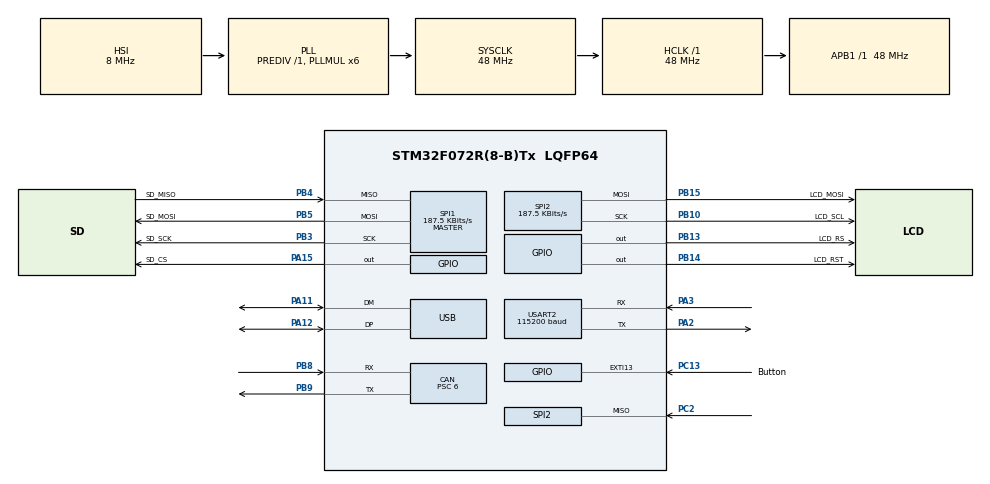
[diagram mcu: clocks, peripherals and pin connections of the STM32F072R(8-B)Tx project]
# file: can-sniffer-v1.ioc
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CAN.BS1=CAN_BS1_12TQ
CAN.BS2=CAN_BS2_3TQ
CAN.CalculateBaudRate=500000
CAN.CalculateTimeBit=2000
CAN.CalculateTimeQuantum=125.0
CAN.Mode=CAN_MODE_NORMAL
CAN.Prescaler=6
Mcu.Family=STM32F0
Mcu.Name=STM32F072R(8-B)Tx
Mcu.Package=LQFP64
NVIC.CEC_CAN_IRQn=true\:0\:0\:false\:false\:true\:true\:true\:true
NVIC.EXTI4_15_IRQn=true\:0\:0\:false\:false\:true\:true\:true\:true
NVIC.FLASH_IRQn=true\:0\:0\:false\:false\:true\:true\:true\:true
PA11.Mode=Device
PA11.Signal=USB_DM
PA12.Mode=Device
PA12.Signal=USB_DP
PA13.Mode=Serial_Wire
PA13.Signal=SYS_SWDIO
PA14.Mode=Serial_Wire
PA14.Signal=SYS_SWCLK
PA15.GPIO_Label=SD_CS
PA15.Signal=GPIO_Output
PA2.Mode=Asynchronous
PA2.Signal=USART2_TX
PA3.Mode=Asynchronous
PA3.Signal=USART2_RX
PB10.GPIO_Label=LCD_SCL
PB10.Mode=Full_Duplex_Master
PB10.Signal=SPI2_SCK
PB12.GPIO_Label=LCD_CSB
PB12.Signal=SPI2_NSS
PB13.GPIO_Label=LCD_RS
PB13.Signal=GPIO_Output
PB14.GPIO_Label=LCD_RST
PB14.Signal=GPIO_Output
PB15.GPIO_Label=LCD_MOSI
PB15.Mode=Full_Duplex_Master
PB15.Signal=SPI2_MOSI
PB3.GPIO_Label=SD_SCK
PB3.GPIO_Speed=GPIO_SPEED_FREQ_MEDIUM
PB3.Mode=Full_Duplex_Master
PB3.Signal=SPI1_SCK
PB4.GPIO_Label=SD_MISO
PB4.GPIO_Speed=GPIO_SPEED_FREQ_MEDIUM
PB4.Mode=Full_Duplex_Master
PB4.Signal=SPI1_MISO
PB5.GPIO_Label=SD_MOSI
PB5.GPIO_Speed=GPIO_SPEED_FREQ_MEDIUM
PB5.Mode=Full_Duplex_Master
PB5.Signal=SPI1_MOSI
PB8.GPIO_PuPd=GPIO_PULLUP
PB8.Mode=CAN_Activate
PB8.Signal=CAN_RX
PB9.GPIO_PuPd=GPIO_PULLUP
PB9.Mode=CAN_Activate
PB9.Signal=CAN_TX
PC13.GPIO_Label=Button
PC13.GPIO_ModeDefaultEXTI=GPIO_MODE_IT_FALLING
PC13.Signal=GPXTI13
PC2.Mode=Full_Duplex_Master
PC2.Signal=SPI2_MISO
PF0-OSC_IN.Mode=HSE-External-Oscillator
PF0-OSC_IN.Signal=RCC_OSC_IN
PF1-OSC_OUT.Mode=HSE-External-Oscillator
PF1-OSC_OUT.Signal=RCC_OSC_OUT
ProjectManager.HeapSize=0x200
ProjectManager.StackSize=0x400
ProjectManager.TargetToolchain=STM32CubeIDE
RCC.AHBFreq_Value=48000000
RCC.APB1Freq_Value=48000000
RCC.APB1TimFreq_Value=48000000
RCC.HCLKFreq_Value=48000000
RCC.PLLMUL=RCC_PLL_MUL6
RCC.SYSCLKFreq_VALUE=48000000
RCC.SYSCLKSource=RCC_SYSCLKSOURCE_PLLCLK
SPI1.BaudRatePrescaler=SPI_BAUDRATEPRESCALER_256
SPI1.CalculateBaudRate=187.5 KBits/s
SPI1.DataSize=SPI_DATASIZE_8BIT
SPI1.Direction=SPI_DIRECTION_2LINES
SPI1.Mode=SPI_MODE_MASTER
SPI1.VirtualType=VM_MASTER
SPI2.BaudRatePrescaler=SPI_BAUDRATEPRESCALER_256
SPI2.CalculateBaudRate=187.5 KBits/s
SPI2.Direction=SPI_DIRECTION_2LINES
SPI2.Mode=SPI_MODE_MASTER
SPI2.VirtualType=VM_MASTER
TIM2.Prescaler=47
USART2.BaudRate=115200
USART2.VirtualMode-Asynchronous=VM_ASYNC
VP_FATFS_VS_Generic.Mode=User_defined
VP_TIM2_VS_ClockSourceINT.Mode=Internal
board=custom

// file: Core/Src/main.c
/* USER CODE BEGIN Header */
/**
  ******************************************************************************
  * @file           : main.c
  * @brief          : Main program body
  ******************************************************************************
  * @attention
  *
  * Copyright (c) 2025 STMicroelectronics.
  * All rights reserved.
  *
  * This software is licensed under terms that can be found in the LICENSE file
  * in the root directory of this software component.
  * If no LICENSE file comes with this software, it is provided AS-IS.
  *
  ******************************************************************************
  */
/* USER CODE END Header */
#include "main.h"
#include "fatfs.h"

/* USER CODE BEGIN Includes */
#include <stdio.h>
#include <string.h>
#include <stdarg.h>
#include "canbus.h"
#include "stdbool.h"
#define SD_BUFFER_SIZE 512
/* USER CODE END Includes */

CAN_HandleTypeDef hcan;

SPI_HandleTypeDef hspi1;
SPI_HandleTypeDef hspi2;

TIM_HandleTypeDef htim2;

UART_HandleTypeDef huart2;

PCD_HandleTypeDef hpcd_USB_FS;

/* USER CODE BEGIN PV */
struct		CANmessage temp_msg;
uint16_t 	sd_state = 0;
char 		sd_buffer[SD_BUFFER_SIZE];
uint16_t 	sd_idx = 0;
uint32_t 	total_frames_logged = 0;
FATFS 		fs; // Working area for the file system
FRESULT 	res; // To store the result
FIL 		myFile;
UINT 		bytesWritten;
char 		logData[] = "Test string\r\n";
uint32_t 	can_start_time = 0;
bool 		first_frame_found = false;
//CAN_TxHeaderTypeDef   TxHeader; /* Header containing the information of the transmitted frame */
//CAN_RxHeaderTypeDef   RxHeader; ; /* Header containing the information of the received frame */
//uint8_t               TxData[8] = {0};  /* Buffer of the data to send */
//uint8_t               RxData[8]; /* Buffer of the received data */
//uint32_t              TxMailbox;  /* The number of the mail box that transmitted the Tx message */
//uint8_t 			  tx;
//uint8_t 			  rx;
//static struct CANmessage CANqueue[CANQUEUE_SIZE];
//static uint32_t CANqueue_write_index;

/* USER CODE END PV */

void SystemClock_Config(void);
static void MX_GPIO_Init(void);
static void MX_USB_PCD_Init(void);
static void MX_CAN_Init(void);
static void MX_SPI1_Init(void);
static void MX_USART2_UART_Init(void);
static void MX_SPI2_Init(void);
static void MX_TIM2_Init(void);
/* USER CODE BEGIN PFP */
void Logging_Task(void);
/* USER CODE END PFP */

int main(void)
{

  /* MCU Configuration--------------------------------------------------------*/

  /* Reset of all peripherals, Initializes the Flash interface and the Systick. */
  HAL_Init();

  /* Configure the system clock */
  SystemClock_Config();

  /* Initialize all configured peripherals */
  MX_GPIO_Init();
  MX_USB_PCD_Init();
  MX_CAN_Init();
  MX_SPI1_Init();
  MX_FATFS_Init();
  MX_USART2_UART_Init();
  MX_SPI2_Init();
  MX_TIM2_Init();
  /* USER CODE BEGIN 2 */
  CANbus_Init();
  HAL_CAN_Start(&hcan);
  CAN_EnableCollection();
  HAL_CAN_ActivateNotification(&hcan, CAN_IT_RX_FIFO0_MSG_PENDING);
  HAL_CAN_IRQHandler(&hcan);

//  HAL_CAN_Receive_IT(&hcan, CAN_RX_FIFO0);

	res = f_mount(&fs, "", 1);

	if (res == FR_OK) {
		sd_state=1;
	}

//	if (f_open(&myFile, "LOG.TXT", FA_CREATE_ALWAYS | FA_WRITE) == FR_OK) {
//		f_write(&myFile, logData, strlen(logData), &bytesWritten);
//		f_close(&myFile);
//	}

//	if (f_open(&myFile, "LOG.TXT", FA_OPEN_ALWAYS | FA_WRITE) == FR_OK){
//		f_lseek(&myFile, f_size(&myFile));
//	}
	memset(sd_buffer, 0, 512); // Clean the buffer
	sd_idx = 0;                // Reset index
	HAL_Delay(100);
  /* USER CODE END 2 */

  /* Infinite loop */
  /* USER CODE BEGIN WHILE */

  while (1)
  {
	  Logging_Task();

    /* USER CODE END WHILE */

  }
}

void SystemClock_Config(void)
{
  RCC_OscInitTypeDef RCC_OscInitStruct = {0};
  RCC_ClkInitTypeDef RCC_ClkInitStruct = {0};
  RCC_PeriphCLKInitTypeDef PeriphClkInit = {0};

  /** Initializes the RCC Oscillators according to the specified parameters
  * in the RCC_OscInitTypeDef structure.
  */
  RCC_OscInitStruct.OscillatorType = RCC_OSCILLATORTYPE_HSI|RCC_OSCILLATORTYPE_HSI48;
  RCC_OscInitStruct.HSIState = RCC_HSI_ON;
  RCC_OscInitStruct.HSI48State = RCC_HSI48_ON;
  RCC_OscInitStruct.HSICalibrationValue = RCC_HSICALIBRATION_DEFAULT;
  RCC_OscInitStruct.PLL.PLLState = RCC_PLL_ON;
  RCC_OscInitStruct.PLL.PLLSource = RCC_PLLSOURCE_HSI;
  RCC_OscInitStruct.PLL.PLLMUL = RCC_PLL_MUL6;
  RCC_OscInitStruct.PLL.PREDIV = RCC_PREDIV_DIV1;
  if (HAL_RCC_OscConfig(&RCC_OscInitStruct) != HAL_OK)
  {
    Error_Handler();
  }

  /** Initializes the CPU, AHB and APB buses clocks
  */
  RCC_ClkInitStruct.ClockType = RCC_CLOCKTYPE_HCLK|RCC_CLOCKTYPE_SYSCLK
                              |RCC_CLOCKTYPE_PCLK1;
  RCC_ClkInitStruct.SYSCLKSource = RCC_SYSCLKSOURCE_PLLCLK;
  RCC_ClkInitStruct.AHBCLKDivider = RCC_SYSCLK_DIV1;
  RCC_ClkInitStruct.APB1CLKDivider = RCC_HCLK_DIV1;

  if (HAL_RCC_ClockConfig(&RCC_ClkInitStruct, FLASH_LATENCY_1) != HAL_OK)
  {
    Error_Handler();
  }
  PeriphClkInit.PeriphClockSelection = RCC_PERIPHCLK_USB|RCC_PERIPHCLK_USART2;
  PeriphClkInit.Usart2ClockSelection = RCC_USART2CLKSOURCE_PCLK1;
  PeriphClkInit.UsbClockSelection = RCC_USBCLKSOURCE_HSI48;

  if (HAL_RCCEx_PeriphCLKConfig(&PeriphClkInit) != HAL_OK)
  {
    Error_Handler();
  }
}

static void MX_CAN_Init(void)
{

  /* USER CODE BEGIN CAN_Init 0 */
////	CAN_FilterTypeDef sFilterConfig;
  /* USER CODE END CAN_Init 0 */

  /* USER CODE BEGIN CAN_Init 1 */
////
  /* USER CODE END CAN_Init 1 */
  hcan.Instance = CAN;
  hcan.Init.Prescaler = 6;
  hcan.Init.Mode = CAN_MODE_NORMAL;
  hcan.Init.SyncJumpWidth = CAN_SJW_1TQ;
  hcan.Init.TimeSeg1 = CAN_BS1_12TQ;
  hcan.Init.TimeSeg2 = CAN_BS2_3TQ;
  hcan.Init.TimeTriggeredMode = DISABLE;
  hcan.Init.AutoBusOff = DISABLE;
  hcan.Init.AutoWakeUp = DISABLE;
  hcan.Init.AutoRetransmission = DISABLE;
  hcan.Init.ReceiveFifoLocked = DISABLE;
  hcan.Init.TransmitFifoPriority = DISABLE;
  if (HAL_CAN_Init(&hcan) != HAL_OK)
  {
    Error_Handler();
  }
  /* USER CODE BEGIN CAN_Init 2 */
//  sFilterConfig.FilterBank = 0;
//  sFilterConfig.FilterMode = CAN_FILTERMODE_IDMASK;
//  sFilterConfig.FilterScale = CAN_FILTERSCALE_32BIT;
//  sFilterConfig.FilterIdHigh = 0x0000;
//  sFilterConfig.FilterIdLow = 0x0000;
//  sFilterConfig.FilterMaskIdHigh = 0x0000;
//  sFilterConfig.FilterMaskIdLow = 0x0000;
//  sFilterConfig.FilterFIFOAssignment = CAN_RX_FIFO0;
//  sFilterConfig.FilterActivation = ENABLE;
//  sFilterConfig.SlaveStartFilterBank = 14;
//  if (HAL_CAN_ConfigFilter(&hcan, &sFilterConfig) != HAL_OK){
//	  //filter configuration error
//	  Error_Handler();
//  }
//  //Starting CAN peripheral
//  if (HAL_CAN_Start(&hcan) != HAL_OK){
//	  //start error
//	  Error_Handler();
//  }
//  //Activate CAN RX notification on FIFO0
//  if (HAL_CAN_ActivateNotification(&hcan, CAN_IT_RX_FIFO0_MSG_PENDING)){
//	  //notification error
//	  Error_Handler();
//  }
////
  /* USER CODE END CAN_Init 2 */

}

static void MX_SPI1_Init(void)
{

  /* SPI1 parameter configuration*/
  hspi1.Instance = SPI1;
  hspi1.Init.Mode = SPI_MODE_MASTER;
  hspi1.Init.Direction = SPI_DIRECTION_2LINES;
  hspi1.Init.DataSize = SPI_DATASIZE_8BIT;
  hspi1.Init.CLKPolarity = SPI_POLARITY_LOW;
  hspi1.Init.CLKPhase = SPI_PHASE_1EDGE;
  hspi1.Init.NSS = SPI_NSS_SOFT;
  hspi1.Init.BaudRatePrescaler = SPI_BAUDRATEPRESCALER_256;
  hspi1.Init.FirstBit = SPI_FIRSTBIT_MSB;
  hspi1.Init.TIMode = SPI_TIMODE_DISABLE;
  hspi1.Init.CRCCalculation = SPI_CRCCALCULATION_DISABLE;
  hspi1.Init.CRCPolynomial = 7;
  hspi1.Init.CRCLength = SPI_CRC_LENGTH_DATASIZE;
  hspi1.Init.NSSPMode = SPI_NSS_PULSE_ENABLE;
  if (HAL_SPI_Init(&hspi1) != HAL_OK)
  {
    Error_Handler();
  }

}

static void MX_SPI2_Init(void)
{

  /* SPI2 parameter configuration*/
  hspi2.Instance = SPI2;
  hspi2.Init.Mode = SPI_MODE_MASTER;
  hspi2.Init.Direction = SPI_DIRECTION_2LINES;
  hspi2.Init.DataSize = SPI_DATASIZE_4BIT;
  hspi2.Init.CLKPolarity = SPI_POLARITY_LOW;
  hspi2.Init.CLKPhase = SPI_PHASE_1EDGE;
  hspi2.Init.NSS = SPI_NSS_SOFT;
  hspi2.Init.BaudRatePrescaler = SPI_BAUDRATEPRESCALER_256;
  hspi2.Init.FirstBit = SPI_FIRSTBIT_MSB;
  hspi2.Init.TIMode = SPI_TIMODE_DISABLE;
  hspi2.Init.CRCCalculation = SPI_CRCCALCULATION_DISABLE;
  hspi2.Init.CRCPolynomial = 7;
  hspi2.Init.CRCLength = SPI_CRC_LENGTH_DATASIZE;
  hspi2.Init.NSSPMode = SPI_NSS_PULSE_ENABLE;
  if (HAL_SPI_Init(&hspi2) != HAL_OK)
  {
    Error_Handler();
  }

}

static void MX_TIM2_Init(void)
{

  TIM_ClockConfigTypeDef sClockSourceConfig = {0};
  TIM_MasterConfigTypeDef sMasterConfig = {0};

  htim2.Instance = TIM2;
  htim2.Init.Prescaler = 47;
  htim2.Init.CounterMode = TIM_COUNTERMODE_UP;
  htim2.Init.Period = 4294967295;
  htim2.Init.ClockDivision = TIM_CLOCKDIVISION_DIV1;
  htim2.Init.AutoReloadPreload = TIM_AUTORELOAD_PRELOAD_DISABLE;
  if (HAL_TIM_Base_Init(&htim2) != HAL_OK)
  {
    Error_Handler();
  }
  sClockSourceConfig.ClockSource = TIM_CLOCKSOURCE_INTERNAL;
  if (HAL_TIM_ConfigClockSource(&htim2, &sClockSourceConfig) != HAL_OK)
  {
    Error_Handler();
  }
  sMasterConfig.MasterOutputTrigger = TIM_TRGO_RESET;
  sMasterConfig.MasterSlaveMode = TIM_MASTERSLAVEMODE_DISABLE;
  if (HAL_TIMEx_MasterConfigSynchronization(&htim2, &sMasterConfig) != HAL_OK)
  {
    Error_Handler();
  }
  /* USER CODE BEGIN TIM2_Init 2 */
  //start timer
  HAL_TIM_Base_Start(&htim2);
  /* USER CODE END TIM2_Init 2 */

}

static void MX_USART2_UART_Init(void)
{

  huart2.Instance = USART2;
  huart2.Init.BaudRate = 115200;
  huart2.Init.WordLength = UART_WORDLENGTH_8B;
  huart2.Init.StopBits = UART_STOPBITS_1;
  huart2.Init.Parity = UART_PARITY_NONE;
  huart2.Init.Mode = UART_MODE_TX_RX;
  huart2.Init.HwFlowCtl = UART_HWCONTROL_NONE;
  huart2.Init.OverSampling = UART_OVERSAMPLING_16;
  huart2.Init.OneBitSampling = UART_ONE_BIT_SAMPLE_DISABLE;
  huart2.AdvancedInit.AdvFeatureInit = UART_ADVFEATURE_NO_INIT;
  if (HAL_UART_Init(&huart2) != HAL_OK)
  {
    Error_Handler();
  }

}

static void MX_USB_PCD_Init(void)
{

  hpcd_USB_FS.Instance = USB;
  hpcd_USB_FS.Init.dev_endpoints = 8;
  hpcd_USB_FS.Init.speed = PCD_SPEED_FULL;
  hpcd_USB_FS.Init.phy_itface = PCD_PHY_EMBEDDED;
  hpcd_USB_FS.Init.low_power_enable = DISABLE;
  hpcd_USB_FS.Init.lpm_enable = DISABLE;
  hpcd_USB_FS.Init.battery_charging_enable = DISABLE;
  if (HAL_PCD_Init(&hpcd_USB_FS) != HAL_OK)
  {
    Error_Handler();
  }

}

static void MX_GPIO_Init(void)
{
  GPIO_InitTypeDef GPIO_InitStruct = {0};

  /* GPIO Ports Clock Enable */
  __HAL_RCC_GPIOC_CLK_ENABLE();
  __HAL_RCC_GPIOF_CLK_ENABLE();
  __HAL_RCC_GPIOA_CLK_ENABLE();
  __HAL_RCC_GPIOB_CLK_ENABLE();

  /*Configure GPIO pin Output Level */
  HAL_GPIO_WritePin(GPIOB, LCD_RS_Pin|LCD_RST_Pin, GPIO_PIN_RESET);

  /*Configure GPIO pin Output Level */
  HAL_GPIO_WritePin(SD_CS_GPIO_Port, SD_CS_Pin, GPIO_PIN_RESET);

  /*Configure GPIO pin : Button_Pin */
  GPIO_InitStruct.Pin = Button_Pin;
  GPIO_InitStruct.Mode = GPIO_MODE_IT_FALLING;
  GPIO_InitStruct.Pull = GPIO_NOPULL;
  HAL_GPIO_Init(Button_GPIO_Port, &GPIO_InitStruct);

  /*Configure GPIO pins : LCD_RS_Pin LCD_RST_Pin */
  GPIO_InitStruct.Pin = LCD_RS_Pin|LCD_RST_Pin;
  GPIO_InitStruct.Mode = GPIO_MODE_OUTPUT_PP;
  GPIO_InitStruct.Pull = GPIO_NOPULL;
  GPIO_InitStruct.Speed = GPIO_SPEED_FREQ_LOW;
  HAL_GPIO_Init(GPIOB, &GPIO_InitStruct);

  /*Configure GPIO pin : SD_CS_Pin */
  GPIO_InitStruct.Pin = SD_CS_Pin;
  GPIO_InitStruct.Mode = GPIO_MODE_OUTPUT_PP;
  GPIO_InitStruct.Pull = GPIO_NOPULL;
  GPIO_InitStruct.Speed = GPIO_SPEED_FREQ_LOW;
  HAL_GPIO_Init(SD_CS_GPIO_Port, &GPIO_InitStruct);

  /* EXTI interrupt init*/
  HAL_NVIC_SetPriority(EXTI4_15_IRQn, 0, 0);
  HAL_NVIC_EnableIRQ(EXTI4_15_IRQn);

}

/* USER CODE BEGIN 4 */
void Logging_Task(void){
	while(CAN_Dequeue(&temp_msg)){
		char line[74];
		uint32_t new_time = __HAL_TIM_GET_COUNTER(&htim2);

		if(!first_frame_found){
			  can_start_time = new_time;
			  first_frame_found = true;
		  }

		  uint32_t relative_time = new_time - can_start_time;

		int len = sprintf(line, "%03lX,%d,%02X%02X%02X%02X%02X%02X%02X%02X\n,%03lX",
                temp_msg.Id, temp_msg.DLC,
                temp_msg.Data[0], temp_msg.Data[1], temp_msg.Data[2], temp_msg.Data[3],
                temp_msg.Data[4], temp_msg.Data[5], temp_msg.Data[6], temp_msg.Data[7], relative_time);

		// Add the IRQ count as a "fake" data byte to see if it's changing
//		int len = sprintf(line, "%03lX,%d,IRQ:%lu\n",
//		                  temp_msg.Id, temp_msg.DLC, can_rx_irq_count);

		if (sd_idx + len >= 512){
			UINT bw;
			if (f_open(&myFile, "DATA7.TXT", FA_OPEN_ALWAYS | FA_WRITE) == FR_OK) {
				f_lseek(&myFile, myFile.fsize);
				f_write(&myFile, sd_buffer, sd_idx, &bw);
				f_close(&myFile);
			}
			sd_idx = 0;
		}

		memcpy(&sd_buffer[sd_idx], line, len);
		sd_idx += len;

		total_frames_logged++;
	}

}

//void HAL_GPIO_EXTI_Callback(uint16_t GPIO_PIN)
//	{
//		if (GPIO_PIN == GPIO_PIN_13)
//		{
//			if (led_state == 0){
//				HAL_GPIO_WritePin(GPIOA, GPIO_PIN_5, GPIO_PIN_SET);
//				led_state = 1;
//			}
//			else{
//				HAL_GPIO_WritePin(GPIOA, GPIO_PIN_5, GPIO_PIN_RESET);
//				led_state = 0;
//			}
//		}
//
//	}
/* USER CODE END 4 */

void Error_Handler(void)
{
  __disable_irq();
  while (1)
  {
  }
}
